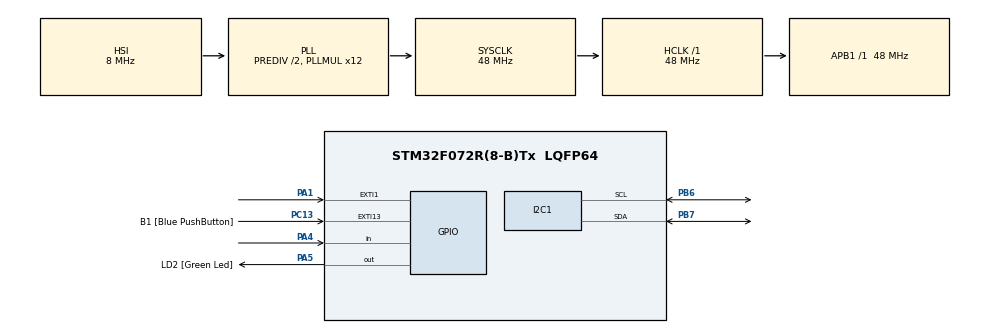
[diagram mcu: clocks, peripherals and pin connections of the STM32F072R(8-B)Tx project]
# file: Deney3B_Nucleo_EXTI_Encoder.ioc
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I2C1.Timing=0x00201D2B
Mcu.Family=STM32F0
Mcu.Name=STM32F072R(8-B)Tx
Mcu.Package=LQFP64
NVIC.EXTI0_1_IRQn=true\:0\:0\:false\:false\:true\:true\:true\:true
PA1.GPIO_ModeDefaultEXTI=GPIO_MODE_IT_RISING_FALLING
PA1.GPIO_PuPd=GPIO_PULLUP
PA1.Signal=GPXTI1
PA13.GPIO_Label=TMS
PA13.Signal=SYS_SWDIO
PA14.GPIO_Label=TCK
PA14.Signal=SYS_SWCLK
PA2.GPIO_Label=USART_TX
PA2.GPIO_Mode=GPIO_MODE_AF_PP
PA2.GPIO_PuPd=GPIO_NOPULL
PA2.GPIO_Speed=GPIO_SPEED_FREQ_LOW
PA2.Signal=USART2_TX
PA3.GPIO_Label=USART_RX
PA3.GPIO_Mode=GPIO_MODE_AF_PP
PA3.GPIO_PuPd=GPIO_NOPULL
PA3.GPIO_Speed=GPIO_SPEED_FREQ_LOW
PA3.Signal=USART2_RX
PA4.GPIO_PuPd=GPIO_PULLUP
PA4.Signal=GPIO_Input
PA5.GPIO_Label=LD2 [Green Led]
PA5.GPIO_Mode=GPIO_MODE_OUTPUT_PP
PA5.GPIO_PuPd=GPIO_NOPULL
PA5.GPIO_Speed=GPIO_SPEED_FREQ_LOW
PA5.Signal=GPIO_Output
PB6.Mode=I2C
PB6.Signal=I2C1_SCL
PB7.Mode=I2C
PB7.Signal=I2C1_SDA
PC13.GPIO_Label=B1 [Blue PushButton]
PC13.GPIO_ModeDefaultEXTI=GPIO_MODE_IT_FALLING
PC13.Signal=GPXTI13
PC14-OSC32_IN.Signal=RCC_OSC32_IN
PC15-OSC32_OUT.Signal=RCC_OSC32_OUT
PF0-OSC_IN.Signal=RCC_OSC_IN
PF1-OSC_OUT.Signal=RCC_OSC_OUT
ProjectManager.HeapSize=0x200
ProjectManager.StackSize=0x400
ProjectManager.TargetToolchain=STM32CubeIDE
RCC.AHBFreq_Value=48000000
RCC.APB1Freq_Value=48000000
RCC.APB1TimFreq_Value=48000000
RCC.FLatency-AdvancedSettings=FLASH_LATENCY_1
RCC.HCLKFreq_Value=48000000
RCC.PLLDivider=RCC_PREDIV_DIV2
RCC.PLLMUL=RCC_PLL_MUL12
RCC.SYSCLKFreq_VALUE=48000000
RCC.SYSCLKSource=RCC_SYSCLKSOURCE_PLLCLK
board=NUCLEO-F072RB

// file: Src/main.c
/* USER CODE BEGIN Header */
/**
  ******************************************************************************
  * @file           : main.c
  * @brief          : Main program body
  ******************************************************************************
  * @attention
  *
  * Copyright (c) 2025 STMicroelectronics.
  * All rights reserved.
  *
  * This software is licensed under terms that can be found in the LICENSE file
  * in the root directory of this software component.
  * If no LICENSE file comes with this software, it is provided AS-IS.
  *
  ******************************************************************************
  */
/* USER CODE END Header */
#include "main.h"

/* USER CODE BEGIN Includes */
#include "i2c-lcd.h"
#include <stdio.h>
/* USER CODE END Includes */

I2C_HandleTypeDef hi2c1;

/* USER CODE BEGIN PV */
// volatile: Değişkenin interrupt içinde değişebileceğini derleyiciye bildirir.
volatile int counter = 0;
char lcd_buffer[20];
/* USER CODE END PV */

void SystemClock_Config(void);
static void MX_GPIO_Init(void);
static void MX_I2C1_Init(void);

int main(void)
{

  /* MCU Configuration--------------------------------------------------------*/

  /* Reset of all peripherals, Initializes the Flash interface and the Systick. */
  HAL_Init();

  /* Configure the system clock */
  SystemClock_Config();

  /* Initialize all configured peripherals */
  MX_GPIO_Init();
  MX_I2C1_Init();
  /* USER CODE BEGIN 2 */
    lcd_init();
    lcd_send_string("Encoder Test");
    HAL_Delay(1000);
    lcd_clear();
    /* USER CODE END 2 */

  /* Infinite loop */
  while (1)
  {

	  /* USER CODE BEGIN 3 */
	  	  // Ekrana Yazdırma İşlemi
	  	  // Dikkat: Encoder okuma burada DEĞİL, yukarıdaki Interrupt fonksiyonunda yapılıyor!
	  	  // Burası sadece ekrana sonucu basar.

	  	  lcd_put_cur(0, 0);
	  	  lcd_send_string("Pozisyon:       "); // Eski yazıyı temizlemek için boşluklar

	  	  lcd_put_cur(0, 10);
	  	  sprintf(lcd_buffer, "%d", counter);
	  	  lcd_send_string(lcd_buffer);

	  	  lcd_put_cur(1, 0);
	  	  if(counter > 0) lcd_send_string("Yon: Saga (CW) ");
	  	  else if(counter < 0) lcd_send_string("Yon: Sola (CCW)");
	  	  else lcd_send_string("Yon: Duruyor   ");

	  	  HAL_Delay(100); // Ekran titremesini önlemek için bekleme
	    }
	    /* USER CODE END 3 */
}

void SystemClock_Config(void)
{
  RCC_OscInitTypeDef RCC_OscInitStruct = {0};
  RCC_ClkInitTypeDef RCC_ClkInitStruct = {0};
  RCC_PeriphCLKInitTypeDef PeriphClkInit = {0};

  /** Initializes the RCC Oscillators according to the specified parameters
  * in the RCC_OscInitTypeDef structure.
  */
  RCC_OscInitStruct.OscillatorType = RCC_OSCILLATORTYPE_HSI;
  RCC_OscInitStruct.HSIState = RCC_HSI_ON;
  RCC_OscInitStruct.HSICalibrationValue = RCC_HSICALIBRATION_DEFAULT;
  RCC_OscInitStruct.PLL.PLLState = RCC_PLL_ON;
  RCC_OscInitStruct.PLL.PLLSource = RCC_PLLSOURCE_HSI;
  RCC_OscInitStruct.PLL.PLLMUL = RCC_PLL_MUL12;
  RCC_OscInitStruct.PLL.PREDIV = RCC_PREDIV_DIV2;
  if (HAL_RCC_OscConfig(&RCC_OscInitStruct) != HAL_OK)
  {
    Error_Handler();
  }

  /** Initializes the CPU, AHB and APB buses clocks
  */
  RCC_ClkInitStruct.ClockType = RCC_CLOCKTYPE_HCLK|RCC_CLOCKTYPE_SYSCLK
                              |RCC_CLOCKTYPE_PCLK1;
  RCC_ClkInitStruct.SYSCLKSource = RCC_SYSCLKSOURCE_PLLCLK;
  RCC_ClkInitStruct.AHBCLKDivider = RCC_SYSCLK_DIV1;
  RCC_ClkInitStruct.APB1CLKDivider = RCC_HCLK_DIV1;

  if (HAL_RCC_ClockConfig(&RCC_ClkInitStruct, FLASH_LATENCY_1) != HAL_OK)
  {
    Error_Handler();
  }
  PeriphClkInit.PeriphClockSelection = RCC_PERIPHCLK_I2C1;
  PeriphClkInit.I2c1ClockSelection = RCC_I2C1CLKSOURCE_HSI;
  if (HAL_RCCEx_PeriphCLKConfig(&PeriphClkInit) != HAL_OK)
  {
    Error_Handler();
  }
}

static void MX_I2C1_Init(void)
{

  hi2c1.Instance = I2C1;
  hi2c1.Init.Timing = 0x00201D2B;
  hi2c1.Init.OwnAddress1 = 0;
  hi2c1.Init.AddressingMode = I2C_ADDRESSINGMODE_7BIT;
  hi2c1.Init.DualAddressMode = I2C_DUALADDRESS_DISABLE;
  hi2c1.Init.OwnAddress2 = 0;
  hi2c1.Init.OwnAddress2Masks = I2C_OA2_NOMASK;
  hi2c1.Init.GeneralCallMode = I2C_GENERALCALL_DISABLE;
  hi2c1.Init.NoStretchMode = I2C_NOSTRETCH_DISABLE;
  if (HAL_I2C_Init(&hi2c1) != HAL_OK)
  {
    Error_Handler();
  }

  /** Configure Analogue filter
  */
  if (HAL_I2CEx_ConfigAnalogFilter(&hi2c1, I2C_ANALOGFILTER_ENABLE) != HAL_OK)
  {
    Error_Handler();
  }

  /** Configure Digital filter
  */
  if (HAL_I2CEx_ConfigDigitalFilter(&hi2c1, 0) != HAL_OK)
  {
    Error_Handler();
  }

}

static void MX_GPIO_Init(void)
{
  GPIO_InitTypeDef GPIO_InitStruct = {0};

  /* GPIO Ports Clock Enable */
  __HAL_RCC_GPIOC_CLK_ENABLE();
  __HAL_RCC_GPIOF_CLK_ENABLE();
  __HAL_RCC_GPIOA_CLK_ENABLE();
  __HAL_RCC_GPIOB_CLK_ENABLE();

  /*Configure GPIO pin Output Level */
  HAL_GPIO_WritePin(LD2_GPIO_Port, LD2_Pin, GPIO_PIN_RESET);

  /*Configure GPIO pin : B1_Pin */
  GPIO_InitStruct.Pin = B1_Pin;
  GPIO_InitStruct.Mode = GPIO_MODE_IT_FALLING;
  GPIO_InitStruct.Pull = GPIO_NOPULL;
  HAL_GPIO_Init(B1_GPIO_Port, &GPIO_InitStruct);

  /*Configure GPIO pin : PA1 */
  GPIO_InitStruct.Pin = GPIO_PIN_1;
  GPIO_InitStruct.Mode = GPIO_MODE_IT_RISING_FALLING;
  GPIO_InitStruct.Pull = GPIO_PULLUP;
  HAL_GPIO_Init(GPIOA, &GPIO_InitStruct);

  /*Configure GPIO pins : USART_TX_Pin USART_RX_Pin */
  GPIO_InitStruct.Pin = USART_TX_Pin|USART_RX_Pin;
  GPIO_InitStruct.Mode = GPIO_MODE_AF_PP;
  GPIO_InitStruct.Pull = GPIO_NOPULL;
  GPIO_InitStruct.Speed = GPIO_SPEED_FREQ_LOW;
  GPIO_InitStruct.Alternate = GPIO_AF1_USART2;
  HAL_GPIO_Init(GPIOA, &GPIO_InitStruct);

  /*Configure GPIO pin : PA4 */
  GPIO_InitStruct.Pin = GPIO_PIN_4;
  GPIO_InitStruct.Mode = GPIO_MODE_INPUT;
  GPIO_InitStruct.Pull = GPIO_PULLUP;
  HAL_GPIO_Init(GPIOA, &GPIO_InitStruct);

  /*Configure GPIO pin : LD2_Pin */
  GPIO_InitStruct.Pin = LD2_Pin;
  GPIO_InitStruct.Mode = GPIO_MODE_OUTPUT_PP;
  GPIO_InitStruct.Pull = GPIO_NOPULL;
  GPIO_InitStruct.Speed = GPIO_SPEED_FREQ_LOW;
  HAL_GPIO_Init(LD2_GPIO_Port, &GPIO_InitStruct);

  /* EXTI interrupt init*/
  HAL_NVIC_SetPriority(EXTI0_1_IRQn, 0, 0);
  HAL_NVIC_EnableIRQ(EXTI0_1_IRQn);

}

/* USER CODE BEGIN 4 */
void HAL_GPIO_EXTI_Callback(uint16_t GPIO_Pin)
{
	// Eğer tetiklenen pin bizim Encoder CLK (PA1) pinimiz ise:
	if(GPIO_Pin == GPIO_PIN_1)
	{
		// Şu anki CLK (PA1) ve DT (PA4) durumlarını oku
		GPIO_PinState clk_state = HAL_GPIO_ReadPin(GPIOA, GPIO_PIN_1);
		GPIO_PinState dt_state = HAL_GPIO_ReadPin(GPIOA, GPIO_PIN_4);

		// Yön Tayini Algoritması
		if(clk_state != dt_state)
		{
			counter++; // Saat Yönü (CW)
		}
		else
		{
			counter--; // Saat Yönü Tersi (CCW)
		}
	}
}
/* USER CODE END 4 */

void Error_Handler(void)
{
  __disable_irq();
  while (1)
  {
  }
}
